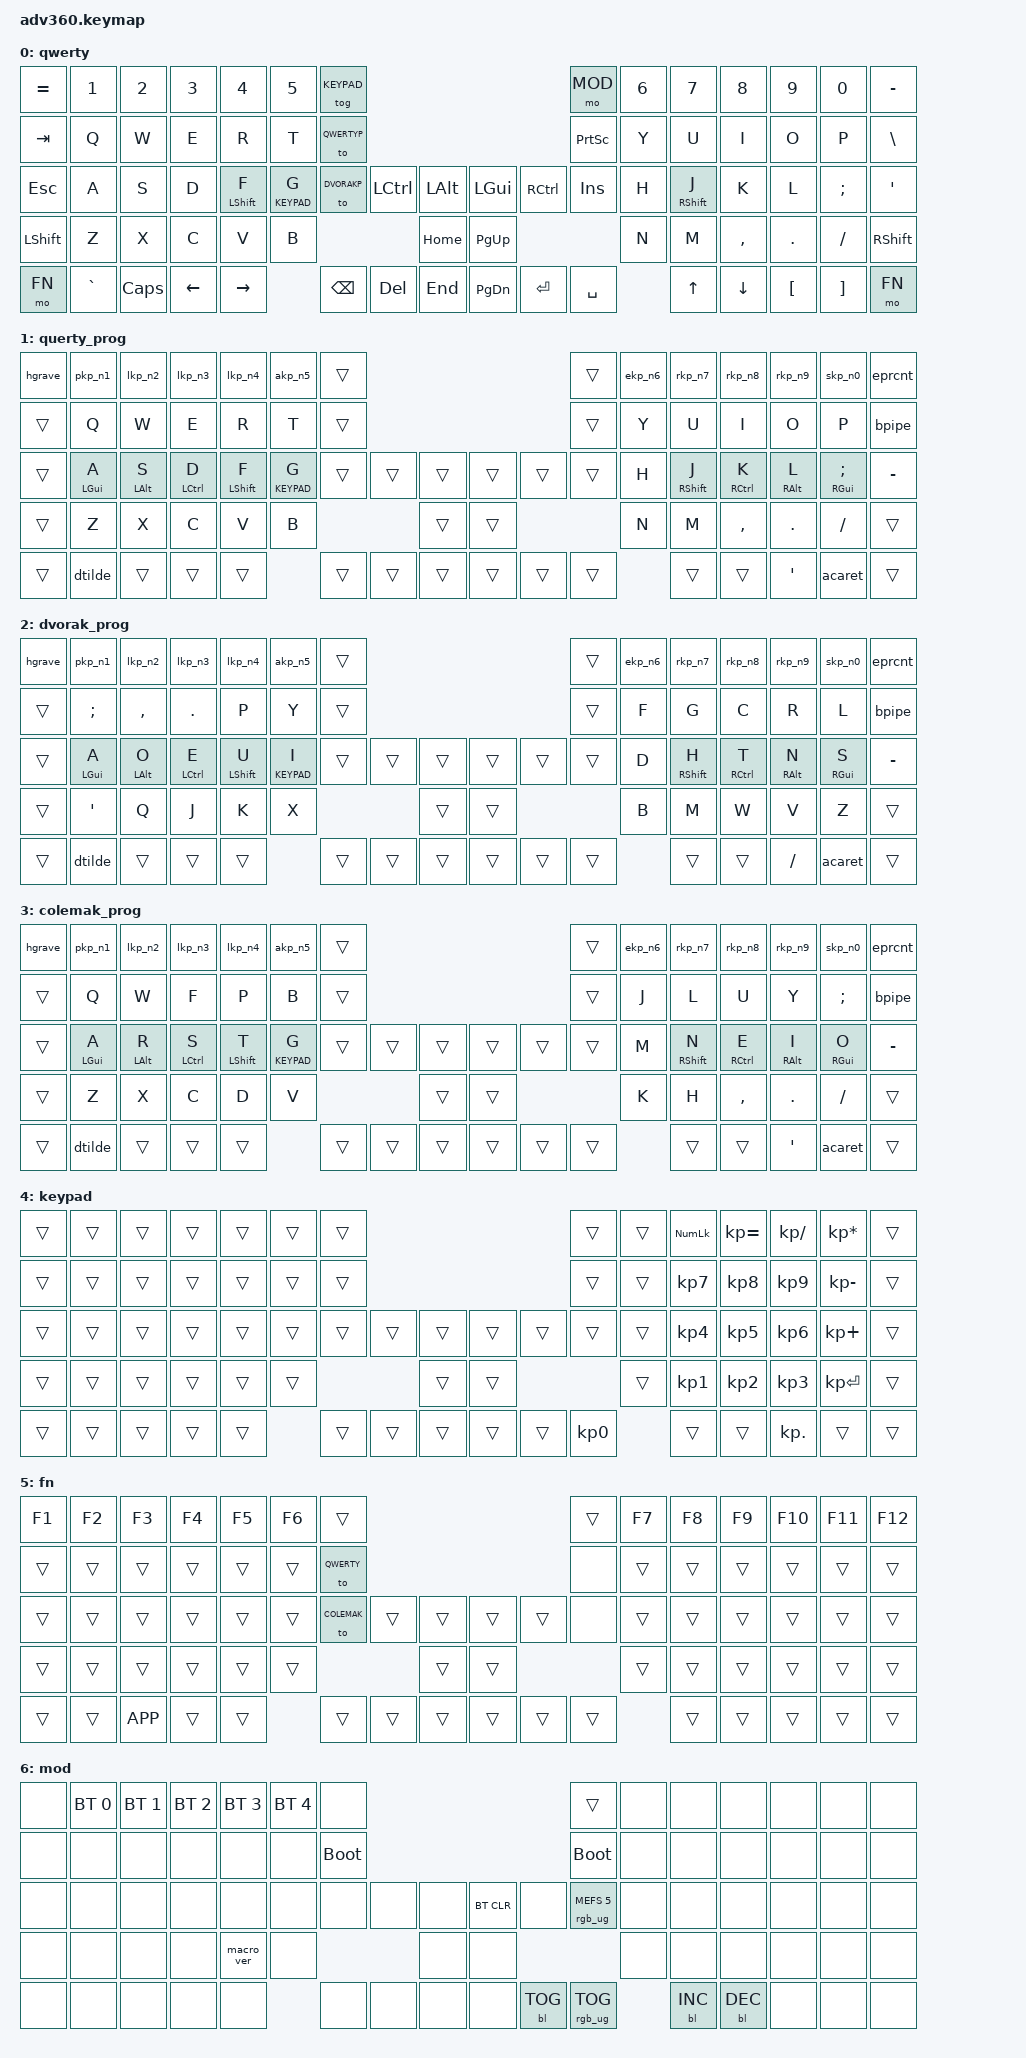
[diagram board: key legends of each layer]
#include <behaviors.dtsi>
#include <dt-bindings/zmk/keys.h>
#include <dt-bindings/zmk/bt.h>
#include <dt-bindings/zmk/rgb.h>
#include <dt-bindings/zmk/backlight.h>
#define ______ &trans
#define xxxxxx &none

#define QWERTY 0
#define QWERTYP 1
#define DVORAKP 2
#define COLEMAK 3
#define KEYPAD 4
#define FN 5
#define MOD 6

/ {
    combos {
      compatible = "zmk,combos";
      combo_left_ctrl_7_to_left_brace {
          timeout-ms = <350>;
          key-positions = <35 9>;
          bindings = <&kp LBRC>;
          layers = <0 1 2 3>;
      };
      combo_left_ctrl_8_to_right_brace {
          timeout-ms = <350>;
          key-positions = <35 10>;
          bindings = <&kp RBRC>;
          layers = <0 1 2 3>;
      };
      combo_g_kp_to_left_brace {
          timeout-ms = <350>;
          key-positions = <33 9>;
          bindings = <&kp LBRC>;
          layers = <0 1 2 3>;
      };
      combo_g_kp_8_to_right_brace {
          timeout-ms = <350>;
          key-positions = <33 10>;
          bindings = <&kp RBRC>;
          layers = <0 1 2 3>;
      };
      combo_right_ctrl_3_to_left_bracket {
          timeout-ms = <350>;
          key-positions = <38 3>;
          bindings = <&kp LBKT>;
          layers = <0 1 2 3>;
      };
      combo_right_ctrl_4_to_right_bracket {
          timeout-ms = <350>;
          key-positions = <38 4>;
          bindings = <&kp RBKT>;
          layers = <0 1 2 3>;
      };
      combo_h_kp_3_to_left_bracket {
          timeout-ms = <350>;
          key-positions = <40 3>;
          bindings = <&kp LBKT>;
          layers = <0 1 2 3>;
      };
      combo_h_kp_4_to_right_bracket {
          timeout-ms = <350>;
          key-positions = <40 4>;
          bindings = <&kp RBKT>;
          layers = <0 1 2 3>;
      };
    };

    behaviors {
      #include "macros.dtsi"
      #include "version.dtsi"
      #ifndef VERSION_MACRO
      macro_ver: macro_ver {
        compatible = "zmk,behavior-macro";
        label = "macro_version";
        #binding-cells = <0>;
        bindings = <&kp RET>;
      };
      #endif

      hm: homerow_mods {
          compatible = "zmk,behavior-hold-tap";
          label = "HOMEROW_MODS";
          #binding-cells = <2>;
          tapping-term-ms = <200>;
          quick_tap_ms = <175>;
          flavor = "tap-preferred";
          bindings = <&kp>, <&kp>;
      };
      hm_l: hm_l {
          compatible = "zmk,behavior-hold-tap";
          label = "HM_L";
          bindings = <&kp>, <&kp>;

          #binding-cells = <2>;
          flavor = "balanced";
          tapping-term-ms = <200>;
          quick-tap-ms = <175>;
          hold-trigger-key-positions = <66 35 36 52 67 65 7 8 9 10 11 12 13 21 22 23 24 25 26 27 38 39 40 41 42 43 44 45 54 55 56 57 58 59 70 71 72 73 74 75 37 53 69 68>;
          hold-trigger-on-release;
          global-quick-tap;
      };
      hm_r: hm_r {
          compatible = "zmk,behavior-hold-tap";
          label = "HM_R";
          bindings = <&kp>, <&kp>;

          #binding-cells = <2>;
          tapping-term-ms = <200>;
          quick-tap-ms = <175>;
          flavor = "balanced";
          hold-trigger-key-positions = <0 1 2 3 4 5 6 14 15 16 17 18 19 20 28 29 30 31 32 33 34 35 36 46 47 48 49 50 51 52 60 61 62 63 64 65 66 67 37 38 53 68 69 70>;
          hold-trigger-on-release;
          global-quick-tap;
      };
      gpipe: grave_pipe {
          compatible = "zmk,behavior-mod-morph";
          label = "grave_pipe";
          #binding-cells = <0>;
          bindings = <&kp GRAVE>, <&kp PIPE>;
          mods = <(LGUI|LSHIFT|RGUI|RSHIFT)>;
      };
      ppipe: pipe_pipe {
          compatible = "zmk,behavior-mod-morph";
          label = "pipe_pipe";
          #binding-cells = <0>;
          bindings = <&kp PIPE>, <&kp PIPE>;
          mods = <(LGUI|LSHIFT|RGUI|RSHIFT)>;
      };
      pkp_n1: plus_kp_n1 {
          compatible = "zmk,behavior-mod-morph";
          label = "plus_kp_n1";
          #binding-cells = <0>;
          bindings = <&kp N1>, <&kp PLUS>;
          mods = <(MOD_LSFT|MOD_RSFT)>;
      };
      lkp_n2: left_bracket_kp_n2 {
          compatible = "zmk,behavior-mod-morph";
          label = "left_bracket_kp_n2";
          #binding-cells = <0>;
          bindings = <&kp N2>, <&kp LEFT_BRACKET>;
          mods = <(MOD_LSFT|MOD_RSFT)>;
      };
      lkp_n3: left_brace_kp_n3 {
          compatible = "zmk,behavior-mod-morph";
          label = "left_brace_kp_n3";
          #binding-cells = <0>;
          bindings = <&kp N3>, <&kp LEFT_BRACE>;
          mods = <(MOD_LSFT|MOD_RSFT)>;
      };
      lkp_n4: left_parenthesis_kp_n4 {
          compatible = "zmk,behavior-mod-morph";
          label = "left_parenthesis_kp_n4";
          #binding-cells = <0>;
          bindings = <&kp N4>, <&kp LEFT_PARENTHESIS>;
          mods = <(MOD_LSFT|MOD_RSFT)>;
      };
      akp_n5: amps_kp_n5 {
          compatible = "zmk,behavior-mod-morph";
          label = "amps_kp_n5";
          #binding-cells = <0>;
          bindings = <&kp N5>, <&kp AMPS>;
          mods = <(MOD_LSFT|MOD_RSFT)>;
      };
      ekp_n6: equal_kp_n6 {
          compatible = "zmk,behavior-mod-morph";
          label = "equal_kp_n6";
          #binding-cells = <0>;
          bindings = <&kp N6>, <&kp EQUAL>;
          mods = <(MOD_LSFT|MOD_RSFT)>;
      };
      rkp_n7: right_parenthesis_kp_n7 {
          compatible = "zmk,behavior-mod-morph";
          label = "right_parenthesis_kp_n7";
          #binding-cells = <0>;
          bindings = <&kp N7>, <&kp RIGHT_PARENTHESIS>;
          mods = <(MOD_LSFT|MOD_RSFT)>;
      };
      rkp_n8: right_brace_kp_n8 {
          compatible = "zmk,behavior-mod-morph";
          label = "right_brace_kp_n8";
          #binding-cells = <0>;
          bindings = <&kp N8>, <&kp RIGHT_BRACE>;
          mods = <(MOD_LSFT|MOD_RSFT)>;
      };
      rkp_n9: right_bracket_kp_n9 {
          compatible = "zmk,behavior-mod-morph";
          label = "right_bracket_kp_n9";
          #binding-cells = <0>;
          bindings = <&kp N9>, <&kp RIGHT_BRACKET>;
          mods = <(MOD_LSFT|MOD_RSFT)>;
      };
      skp_n0: star_kp_n0 {
          compatible = "zmk,behavior-mod-morph";
          label = "star_kp_n0";
          #binding-cells = <0>;
          bindings = <&kp N0>, <&kp STAR>;
          mods = <(MOD_LSFT|MOD_RSFT)>;
      };
      eprcnt: excl_prcnt {
          compatible = "zmk,behavior-mod-morph";
          label = "excl_prcnt";
          #binding-cells = <0>;
          bindings = <&kp EXCL>, <&kp PRCNT>;
          mods = <(MOD_LSFT|MOD_RSFT)>;
      };
      dgrave: dllr_grave {
          compatible = "zmk,behavior-mod-morph";
          label = "dllr_grave";
          #binding-cells = <0>;
          bindings = <&kp DLLR>, <&kp GRAVE>;
          mods = <(LGUI|LSHIFT|RGUI|RSHIFT)>;
      };
      dtilde: dllr_tilde {
          compatible = "zmk,behavior-mod-morph";
          label = "dllr_tilde";
          #binding-cells = <0>;
          bindings = <&kp DLLR>, <&kp TILDE>;
          mods = <(LGUI|LSHIFT|RGUI|RSHIFT)>;
      };
      ggrave: grave_grave {
          compatible = "zmk,behavior-mod-morph";
          label = "grave_grave";
          #binding-cells = <0>;
          bindings = <&kp GRAVE>, <&kp GRAVE>;
          mods = <(LGUI|LSHIFT|RGUI|RSHIFT)>;
      };
      hgrave: hash_grave {
          compatible = "zmk,behavior-mod-morph";
          label = "pipe_grave";
          #binding-cells = <0>;
          bindings = <&kp HASH>, <&kp GRAVE>;
          mods = <(LGUI|LSHIFT|RGUI|RSHIFT)>;
      };
      bpipe: bslh_pipe {
          compatible = "zmk,behavior-mod-morph";
          label = "bslh_hash";
          #binding-cells = <0>;
          bindings = <&kp BSLH>, <&kp PIPE>;
          mods = <(LGUI|LSHIFT|RGUI|RSHIFT)>;
      };
      acaret: at_caret {
          compatible = "zmk,behavior-mod-morph";
          label = "at_caret";
          #binding-cells = <0>;
          bindings = <&kp AT>, <&kp CARET>;
          mods = <(LGUI|LSHIFT|RGUI|RSHIFT)>;
      };
  };

  keymap {
      compatible = "zmk,keymap";
      qwerty {
          bindings = <
                &kp EQUAL  &kp N1        &kp N2        &kp N3         &kp N4         &kp N5        &tog KEYPAD                                                 &mo MOD    &kp N6  &kp N7         &kp N8         &kp N9        &kp N0           &kp MINUS
                &kp TAB    &kp Q         &kp W         &kp E          &kp R          &kp T         &to QWERTYP                                                 &kp PSCRN  &kp Y   &kp U          &kp I          &kp O         &kp P            &kp BSLH
                &kp ESC    &kp A         &kp S         &kp D          &hm_l LSHFT F  &lt KEYPAD G  &to DVORAKP  &kp LCTRL  &kp LALT      &kp LGUI   &kp RCTRL  &kp INS    &kp H   &hm_r RSHFT J  &kp K          &kp L         &kp SEMI         &kp SQT
                &kp LSHFT  &kp Z         &kp X         &kp C          &kp V          &kp B                                 &kp HOME      &kp PG_UP                        &kp N   &kp M          &kp COMMA      &kp DOT       &kp FSLH         &kp RSHFT
                &mo FN     &kp GRAVE     &kp CAPS      &kp LEFT       &kp RIGHT                    &kp BSPC     &kp DEL    &kp END       &kp PG_DN  &kp ENTER  &kp SPACE          &kp UP         &kp DOWN       &kp LBKT      &kp RBKT         &mo FN
            >;
        };

        querty_prog {
            bindings = <
                &hgrave  &pkp_n1       &lkp_n2       &lkp_n3        &lkp_n4        &akp_n5       ______                                      ______  &ekp_n6  &rkp_n7        &rkp_n8        &rkp_n9       &skp_n0          &eprcnt
                ______   &kp Q         &kp W         &kp E          &kp R          &kp T         ______                                      ______  &kp Y    &kp U          &kp I          &kp O         &kp P            &bpipe
                ______   &hm_l LGUI A  &hm_l LALT S  &hm_l LCTRL D  &hm_l LSHFT F  &lt KEYPAD G  ______  ______  ______      ______  ______  ______  &kp H    &hm_r RSHFT J  &hm_r RCTRL K  &hm_r RALT L  &hm_r RGUI SEMI  &kp MINUS
                ______   &kp Z         &kp X         &kp C          &kp V          &kp B                         ______      ______                  &kp N    &kp M          &kp COMMA      &kp DOT       &kp FSLH         ______
                ______   &dtilde       ______        ______         ______                       ______  ______  ______      ______  ______  ______           ______         ______         &kp SQT       &acaret          ______
            >;
        };

        dvorak_prog {
            bindings = <
                &hgrave  &pkp_n1       &lkp_n2       &lkp_n3        &lkp_n4        &akp_n5       ______                                      ______  &ekp_n6  &rkp_n7        &rkp_n8        &rkp_n9       &skp_n0       &eprcnt
                ______   &kp SEMI      &kp COMMA     &kp DOT        &kp P          &kp Y         ______                                      ______  &kp F    &kp G          &kp C          &kp R         &kp L         &bpipe
                ______   &hm_l LGUI A  &hm_l LALT O  &hm_l LCTRL E  &hm_l LSHFT U  &lt KEYPAD I  ______  ______  ______      ______  ______  ______  &kp D    &hm_r RSHFT H  &hm_r RCTRL T  &hm_r RALT N  &hm_r RGUI S  &kp MINUS
                ______   &kp SQT       &kp Q         &kp J          &kp K          &kp X                         ______      ______                  &kp B    &kp M          &kp W          &kp V         &kp Z         ______
                ______   &dtilde       ______        ______         ______                       ______  ______  ______      ______  ______  ______           ______         ______         &kp FSLH      &acaret       ______
            >;
        };

        colemak_prog {
            bindings = <
                &hgrave  &pkp_n1       &lkp_n2       &lkp_n3        &lkp_n4        &akp_n5       ______                                      ______  &ekp_n6  &rkp_n7        &rkp_n8        &rkp_n9       &skp_n0       &eprcnt
                ______   &kp Q         &kp W         &kp F          &kp P          &kp B         ______                                      ______  &kp J    &kp L          &kp U          &kp Y         &kp SEMI      &bpipe
                ______   &hm_l LGUI A  &hm_l LALT R  &hm_l LCTRL S  &hm_l LSHFT T  &lt KEYPAD G  ______  ______  ______      ______  ______  ______  &kp M    &hm_r RSHFT N  &hm_r RCTRL E  &hm_r RALT I  &hm_r RGUI O  &kp MINUS
                ______   &kp Z         &kp X         &kp C          &kp D          &kp V                         ______      ______                  &kp K    &kp H          &kp COMMA      &kp DOT       &kp FSLH      ______
                ______   &dtilde       ______        ______         ______                       ______  ______  ______      ______  ______  ______           ______         ______         &kp SQT       &acaret       ______
            >;
        };

        keypad {
            bindings = <
                ______  ______  ______  ______  ______  ______  ______                                      ______     ______  &kp KP_NUM  &kp KP_EQUAL  &kp KP_DIVIDE  &kp KP_MULTIPLY  ______
                ______  ______  ______  ______  ______  ______  ______                                      ______     ______  &kp KP_N7   &kp KP_N8     &kp KP_N9      &kp KP_MINUS     ______
                ______  ______  ______  ______  ______  ______  ______  ______  ______      ______  ______  ______     ______  &kp KP_N4   &kp KP_N5     &kp KP_N6      &kp KP_PLUS      ______
                ______  ______  ______  ______  ______  ______                  ______      ______                     ______  &kp KP_N1   &kp KP_N2     &kp KP_N3      &kp KP_ENTER     ______
                ______  ______  ______  ______  ______          ______  ______  ______      ______  ______  &kp KP_N0          ______      ______        &kp KP_DOT     ______           ______
            >;
        };

        fn {
            bindings = <
                &kp F1  &kp F2  &kp F3     &kp F4  &kp F5  &kp F6  ______                                           ______  &kp F7  &kp F8  &kp F9  &kp F10  &kp F11  &kp F12
                ______  ______  ______     ______  ______  ______  &to QWERTY                                       xxxxxx  ______  ______  ______  ______   ______   ______
                ______  ______  ______     ______  ______  ______  &to COLEMAK  ______  ______      ______  ______  xxxxxx  ______  ______  ______  ______   ______   ______
                ______  ______  ______     ______  ______  ______                       ______      ______                  ______  ______  ______  ______   ______   ______
                ______  ______  &kp K_APP  ______  ______          ______       ______  ______      ______  ______  ______          ______  ______  ______   ______   ______
            >;
        };

        mod {
            bindings = <
                xxxxxx  &bt BT_SEL 0  &bt BT_SEL 1  &bt BT_SEL 2  &bt BT_SEL 3  &bt BT_SEL 4  xxxxxx                                                  ______                  xxxxxx  xxxxxx      xxxxxx      xxxxxx  xxxxxx  xxxxxx
                xxxxxx  xxxxxx        xxxxxx        xxxxxx        xxxxxx        xxxxxx        &bootloader                                             &bootloader             xxxxxx  xxxxxx      xxxxxx      xxxxxx  xxxxxx  xxxxxx
                xxxxxx  xxxxxx        xxxxxx        xxxxxx        xxxxxx        xxxxxx        xxxxxx       xxxxxx  xxxxxx     &bt BT_CLR  xxxxxx      &rgb_ug RGB_MEFS_CMD 5  xxxxxx  xxxxxx      xxxxxx      xxxxxx  xxxxxx  xxxxxx
                xxxxxx  xxxxxx        xxxxxx        xxxxxx        &macro_ver    xxxxxx                             xxxxxx     xxxxxx                                          xxxxxx  xxxxxx      xxxxxx      xxxxxx  xxxxxx  xxxxxx
                xxxxxx  xxxxxx        xxxxxx        xxxxxx        xxxxxx                      xxxxxx       xxxxxx  xxxxxx     xxxxxx      &bl BL_TOG  &rgb_ug RGB_TOG                 &bl BL_INC  &bl BL_DEC  xxxxxx  xxxxxx  xxxxxx
            >;
        };
  };
};
